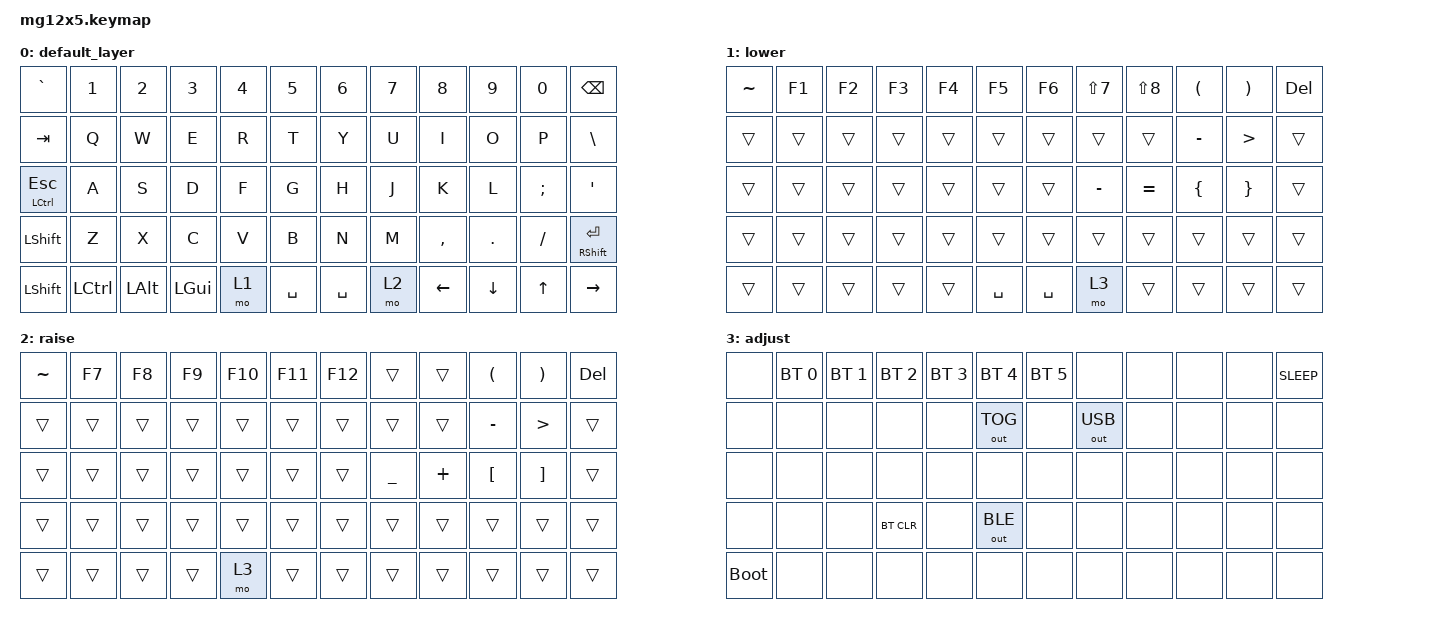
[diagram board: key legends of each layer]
/*
 * Copyright (c) 2021 The ZMK Contributors
 *
 * SPDX-License-Identifier: MIT
 */
 
#include <behaviors.dtsi>
#include <dt-bindings/zmk/keys.h>
#include <dt-bindings/zmk/bt.h>
#include <dt-bindings/zmk/outputs.h>


/ {
	keymap {
		compatible = "zmk,keymap";

		default_layer {
			bindings = <
				&kp GRAVE      &kp N1       &kp N2      &kp N3     &kp N4     &kp N5      &kp N6      &kp N7      &kp N8      &kp N9      &kp N0      &kp BSPC
				&kp TAB        &kp Q        &kp W       &kp E      &kp R      &kp T       &kp Y       &kp U       &kp I       &kp O       &kp P       &kp BSLH
				&mt LCTRL ESC  &kp A        &kp S       &kp D      &kp F      &kp G       &kp H       &kp J       &kp K       &kp L       &kp SEMI    &kp SQT
				&kp LSHFT      &kp Z        &kp X       &kp C      &kp V      &kp B       &kp N       &kp M       &kp COMMA   &kp DOT     &kp FSLH    &mt RSHIFT RET
				&kp LSHFT      &kp LCTRL    &kp LALT    &kp LGUI   &mo 1      &kp SPACE   &kp SPACE   &mo 2       &kp LEFT    &kp DOWN    &kp UP      &kp RIGHT
			>;
		};
		
		lower {
			bindings = <
				&kp TILDE      &kp F1       &kp F2      &kp F3     &kp F4     &kp F5      &kp F6      &kp LS(N7)  &kp LS(N8)  &kp LPAR    &kp RPAR    &kp DEL
				&trans         &trans       &trans      &trans     &trans     &trans      &trans      &trans      &trans      &kp MINUS   &kp GT      &trans
				&trans         &trans       &trans      &trans     &trans     &trans      &trans      &kp MINUS   &kp EQUAL   &kp LBRC    &kp RBRC    &trans
				&trans         &trans       &trans      &trans     &trans     &trans      &trans      &trans      &trans      &trans      &trans      &trans
				&trans         &trans       &trans      &trans     &trans     &kp SPACE   &kp SPACE   &mo 3       &trans      &trans      &trans      &trans
			>;
		};

		raise {
			bindings = <
				&kp TILDE      &kp F7       &kp F8      &kp F9     &kp F10    &kp F11     &kp F12     &trans      &trans      &kp LPAR    &kp RPAR    &kp DEL
				&trans         &trans       &trans      &trans     &trans     &trans      &trans      &trans      &trans      &kp MINUS   &kp GT      &trans
				&trans         &trans       &trans      &trans     &trans     &trans      &trans      &kp UNDER   &kp PLUS    &kp LBKT    &kp RBKT    &trans
				&trans         &trans       &trans      &trans     &trans     &trans      &trans      &trans      &trans      &trans      &trans      &trans
				&trans         &trans       &trans      &trans     &mo 3      &trans      &trans      &trans      &trans      &trans      &trans      &trans
			>;
		};
		adjust {
			bindings = <
				&none        &bt BT_SEL 0   &bt BT_SEL 1   &bt BT_SEL 2    &bt BT_SEL 3    &bt BT_SEL 4    &bt BT_SEL 5  &none        &none        &none       &none       &kp K_SLEEP
				&none        &none          &none          &none           &none           &out OUT_TOG    &none         &out OUT_USB &none        &none       &none       &none
				&none        &none          &none          &none           &none           &none           &none         &none        &none        &none       &none       &none
				&none        &none          &none          &bt BT_CLR      &none           &out OUT_BLE    &none         &none        &none        &none       &none       &none
				&bootloader  &none          &none          &none           &none           &none           &none         &none        &none        &none       &none       &none
			>;
		};
	};
};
